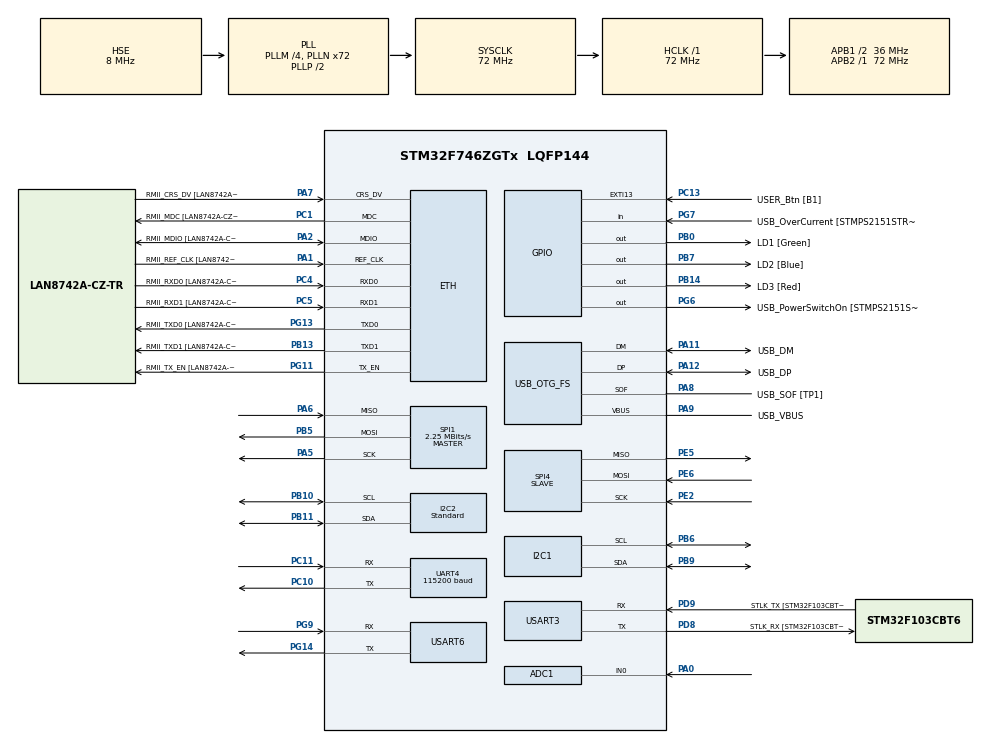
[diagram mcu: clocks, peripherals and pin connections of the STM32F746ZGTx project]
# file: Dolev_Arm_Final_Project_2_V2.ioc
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ADC1.Channel-0\#ChannelRegularConversion=ADC_CHANNEL_0
ADC1.NbrOfConversionFlag=1
ADC1.Rank-0\#ChannelRegularConversion=1
ADC1.SamplingTime-0\#ChannelRegularConversion=ADC_SAMPLETIME_3CYCLES
ADC1.master=1
CORTEX_M7.CPU_DCache=Disabled
CORTEX_M7.PREFETCH_ENABLE=0
Dma.ADC1.12.Direction=DMA_PERIPH_TO_MEMORY
Dma.ADC1.12.FIFOMode=DMA_FIFOMODE_ENABLE
Dma.ADC1.12.FIFOThreshold=DMA_FIFO_THRESHOLD_FULL
Dma.ADC1.12.Instance=DMA2_Stream4
Dma.ADC1.12.MemBurst=DMA_MBURST_SINGLE
Dma.ADC1.12.MemDataAlignment=DMA_MDATAALIGN_HALFWORD
Dma.ADC1.12.MemInc=DMA_MINC_ENABLE
Dma.ADC1.12.Mode=DMA_NORMAL
Dma.ADC1.12.PeriphBurst=DMA_PBURST_SINGLE
Dma.ADC1.12.PeriphDataAlignment=DMA_PDATAALIGN_HALFWORD
Dma.ADC1.12.PeriphInc=DMA_PINC_DISABLE
Dma.ADC1.12.Priority=DMA_PRIORITY_LOW
Dma.I2C1_RX.6.Direction=DMA_PERIPH_TO_MEMORY
Dma.I2C1_RX.6.FIFOMode=DMA_FIFOMODE_ENABLE
Dma.I2C1_RX.6.FIFOThreshold=DMA_FIFO_THRESHOLD_FULL
Dma.I2C1_RX.6.Instance=DMA1_Stream0
Dma.I2C1_RX.6.MemBurst=DMA_MBURST_SINGLE
Dma.I2C1_RX.6.MemDataAlignment=DMA_MDATAALIGN_BYTE
Dma.I2C1_RX.6.MemInc=DMA_MINC_ENABLE
Dma.I2C1_RX.6.Mode=DMA_NORMAL
Dma.I2C1_RX.6.PeriphBurst=DMA_PBURST_SINGLE
Dma.I2C1_RX.6.PeriphDataAlignment=DMA_PDATAALIGN_BYTE
Dma.I2C1_RX.6.PeriphInc=DMA_PINC_DISABLE
Dma.I2C1_RX.6.Priority=DMA_PRIORITY_LOW
Dma.I2C1_TX.7.Direction=DMA_MEMORY_TO_PERIPH
Dma.I2C1_TX.7.FIFOMode=DMA_FIFOMODE_ENABLE
Dma.I2C1_TX.7.FIFOThreshold=DMA_FIFO_THRESHOLD_FULL
Dma.I2C1_TX.7.Instance=DMA1_Stream6
Dma.I2C1_TX.7.MemBurst=DMA_MBURST_SINGLE
Dma.I2C1_TX.7.MemDataAlignment=DMA_MDATAALIGN_BYTE
Dma.I2C1_TX.7.MemInc=DMA_MINC_ENABLE
Dma.I2C1_TX.7.Mode=DMA_NORMAL
Dma.I2C1_TX.7.PeriphBurst=DMA_PBURST_SINGLE
Dma.I2C1_TX.7.PeriphDataAlignment=DMA_PDATAALIGN_BYTE
Dma.I2C1_TX.7.PeriphInc=DMA_PINC_DISABLE
Dma.I2C1_TX.7.Priority=DMA_PRIORITY_LOW
Dma.I2C2_RX.4.Direction=DMA_PERIPH_TO_MEMORY
Dma.I2C2_RX.4.FIFOMode=DMA_FIFOMODE_ENABLE
Dma.I2C2_RX.4.FIFOThreshold=DMA_FIFO_THRESHOLD_FULL
Dma.I2C2_RX.4.Instance=DMA1_Stream3
Dma.I2C2_RX.4.MemBurst=DMA_MBURST_SINGLE
Dma.I2C2_RX.4.MemDataAlignment=DMA_MDATAALIGN_BYTE
Dma.I2C2_RX.4.MemInc=DMA_MINC_ENABLE
Dma.I2C2_RX.4.Mode=DMA_NORMAL
Dma.I2C2_RX.4.PeriphBurst=DMA_PBURST_SINGLE
Dma.I2C2_RX.4.PeriphDataAlignment=DMA_PDATAALIGN_BYTE
Dma.I2C2_RX.4.PeriphInc=DMA_PINC_DISABLE
Dma.I2C2_RX.4.Priority=DMA_PRIORITY_LOW
Dma.I2C2_TX.5.Direction=DMA_MEMORY_TO_PERIPH
Dma.I2C2_TX.5.FIFOMode=DMA_FIFOMODE_ENABLE
Dma.I2C2_TX.5.FIFOThreshold=DMA_FIFO_THRESHOLD_FULL
Dma.I2C2_TX.5.Instance=DMA1_Stream7
Dma.I2C2_TX.5.MemBurst=DMA_MBURST_SINGLE
Dma.I2C2_TX.5.MemDataAlignment=DMA_MDATAALIGN_BYTE
Dma.I2C2_TX.5.MemInc=DMA_MINC_ENABLE
Dma.I2C2_TX.5.Mode=DMA_NORMAL
Dma.I2C2_TX.5.PeriphBurst=DMA_PBURST_SINGLE
Dma.I2C2_TX.5.PeriphDataAlignment=DMA_PDATAALIGN_BYTE
Dma.I2C2_TX.5.PeriphInc=DMA_PINC_DISABLE
Dma.I2C2_TX.5.Priority=DMA_PRIORITY_LOW
Dma.Request0=UART4_RX
Dma.Request1=UART4_TX
Dma.Request10=SPI4_RX
Dma.Request11=SPI4_TX
Dma.Request12=ADC1
Dma.Request2=USART6_RX
Dma.Request3=USART6_TX
Dma.Request4=I2C2_RX
Dma.Request5=I2C2_TX
Dma.Request6=I2C1_RX
Dma.Request7=I2C1_TX
Dma.Request8=SPI1_RX
Dma.Request9=SPI1_TX
Dma.SPI1_RX.8.Direction=DMA_PERIPH_TO_MEMORY
Dma.SPI1_RX.8.FIFOMode=DMA_FIFOMODE_ENABLE
Dma.SPI1_RX.8.FIFOThreshold=DMA_FIFO_THRESHOLD_FULL
Dma.SPI1_RX.8.Instance=DMA2_Stream0
Dma.SPI1_RX.8.MemBurst=DMA_MBURST_SINGLE
Dma.SPI1_RX.8.MemDataAlignment=DMA_MDATAALIGN_BYTE
Dma.SPI1_RX.8.MemInc=DMA_MINC_ENABLE
Dma.SPI1_RX.8.Mode=DMA_NORMAL
Dma.SPI1_RX.8.PeriphBurst=DMA_PBURST_SINGLE
Dma.SPI1_RX.8.PeriphDataAlignment=DMA_PDATAALIGN_BYTE
Dma.SPI1_RX.8.PeriphInc=DMA_PINC_DISABLE
Dma.SPI1_RX.8.Priority=DMA_PRIORITY_LOW
Dma.SPI1_TX.9.Direction=DMA_MEMORY_TO_PERIPH
Dma.SPI1_TX.9.FIFOMode=DMA_FIFOMODE_ENABLE
Dma.SPI1_TX.9.FIFOThreshold=DMA_FIFO_THRESHOLD_FULL
Dma.SPI1_TX.9.Instance=DMA2_Stream5
Dma.SPI1_TX.9.MemBurst=DMA_MBURST_SINGLE
Dma.SPI1_TX.9.MemDataAlignment=DMA_MDATAALIGN_BYTE
Dma.SPI1_TX.9.MemInc=DMA_MINC_ENABLE
Dma.SPI1_TX.9.Mode=DMA_NORMAL
Dma.SPI1_TX.9.PeriphBurst=DMA_PBURST_SINGLE
Dma.SPI1_TX.9.PeriphDataAlignment=DMA_PDATAALIGN_BYTE
Dma.SPI1_TX.9.PeriphInc=DMA_PINC_DISABLE
Dma.SPI1_TX.9.Priority=DMA_PRIORITY_LOW
Dma.SPI4_RX.10.Direction=DMA_PERIPH_TO_MEMORY
Dma.SPI4_RX.10.FIFOMode=DMA_FIFOMODE_ENABLE
Dma.SPI4_RX.10.FIFOThreshold=DMA_FIFO_THRESHOLD_FULL
Dma.SPI4_RX.10.Instance=DMA2_Stream3
Dma.SPI4_RX.10.MemBurst=DMA_MBURST_SINGLE
Dma.SPI4_RX.10.MemDataAlignment=DMA_MDATAALIGN_BYTE
Dma.SPI4_RX.10.MemInc=DMA_MINC_ENABLE
Dma.SPI4_RX.10.Mode=DMA_NORMAL
Dma.SPI4_RX.10.PeriphBurst=DMA_PBURST_SINGLE
Dma.SPI4_RX.10.PeriphDataAlignment=DMA_PDATAALIGN_BYTE
Dma.SPI4_RX.10.PeriphInc=DMA_PINC_DISABLE
Dma.SPI4_RX.10.Priority=DMA_PRIORITY_LOW
Dma.SPI4_TX.11.Direction=DMA_MEMORY_TO_PERIPH
Dma.SPI4_TX.11.FIFOMode=DMA_FIFOMODE_ENABLE
Dma.SPI4_TX.11.FIFOThreshold=DMA_FIFO_THRESHOLD_FULL
Dma.SPI4_TX.11.Instance=DMA2_Stream1
Dma.SPI4_TX.11.MemBurst=DMA_MBURST_SINGLE
Dma.SPI4_TX.11.MemDataAlignment=DMA_MDATAALIGN_BYTE
Dma.SPI4_TX.11.MemInc=DMA_MINC_ENABLE
Dma.SPI4_TX.11.Mode=DMA_NORMAL
Dma.SPI4_TX.11.PeriphBurst=DMA_PBURST_SINGLE
Dma.SPI4_TX.11.PeriphDataAlignment=DMA_PDATAALIGN_BYTE
Dma.SPI4_TX.11.PeriphInc=DMA_PINC_DISABLE
Dma.SPI4_TX.11.Priority=DMA_PRIORITY_LOW
Dma.UART4_RX.0.Direction=DMA_PERIPH_TO_MEMORY
Dma.UART4_RX.0.FIFOMode=DMA_FIFOMODE_ENABLE
Dma.UART4_RX.0.FIFOThreshold=DMA_FIFO_THRESHOLD_FULL
Dma.UART4_RX.0.Instance=DMA1_Stream2
Dma.UART4_RX.0.MemBurst=DMA_MBURST_SINGLE
Dma.UART4_RX.0.MemDataAlignment=DMA_MDATAALIGN_BYTE
Dma.UART4_RX.0.MemInc=DMA_MINC_ENABLE
Dma.UART4_RX.0.Mode=DMA_NORMAL
Dma.UART4_RX.0.PeriphBurst=DMA_PBURST_SINGLE
Dma.UART4_RX.0.PeriphDataAlignment=DMA_PDATAALIGN_BYTE
Dma.UART4_RX.0.PeriphInc=DMA_PINC_DISABLE
Dma.UART4_RX.0.Priority=DMA_PRIORITY_LOW
Dma.UART4_TX.1.Direction=DMA_MEMORY_TO_PERIPH
Dma.UART4_TX.1.FIFOMode=DMA_FIFOMODE_ENABLE
Dma.UART4_TX.1.FIFOThreshold=DMA_FIFO_THRESHOLD_FULL
Dma.UART4_TX.1.Instance=DMA1_Stream4
Dma.UART4_TX.1.MemBurst=DMA_MBURST_SINGLE
Dma.UART4_TX.1.MemDataAlignment=DMA_MDATAALIGN_BYTE
Dma.UART4_TX.1.MemInc=DMA_MINC_ENABLE
Dma.UART4_TX.1.Mode=DMA_NORMAL
Dma.UART4_TX.1.PeriphBurst=DMA_PBURST_SINGLE
Dma.UART4_TX.1.PeriphDataAlignment=DMA_PDATAALIGN_BYTE
Dma.UART4_TX.1.PeriphInc=DMA_PINC_DISABLE
Dma.UART4_TX.1.Priority=DMA_PRIORITY_LOW
Dma.USART6_RX.2.Direction=DMA_PERIPH_TO_MEMORY
Dma.USART6_RX.2.FIFOMode=DMA_FIFOMODE_ENABLE
Dma.USART6_RX.2.FIFOThreshold=DMA_FIFO_THRESHOLD_FULL
Dma.USART6_RX.2.Instance=DMA2_Stream2
Dma.USART6_RX.2.MemBurst=DMA_MBURST_SINGLE
Dma.USART6_RX.2.MemDataAlignment=DMA_MDATAALIGN_BYTE
Dma.USART6_RX.2.MemInc=DMA_MINC_ENABLE
Dma.USART6_RX.2.Mode=DMA_NORMAL
Dma.USART6_RX.2.PeriphBurst=DMA_PBURST_SINGLE
Dma.USART6_RX.2.PeriphDataAlignment=DMA_PDATAALIGN_BYTE
Dma.USART6_RX.2.PeriphInc=DMA_PINC_DISABLE
Dma.USART6_RX.2.Priority=DMA_PRIORITY_LOW
Dma.USART6_TX.3.Direction=DMA_MEMORY_TO_PERIPH
Dma.USART6_TX.3.FIFOMode=DMA_FIFOMODE_ENABLE
Dma.USART6_TX.3.FIFOThreshold=DMA_FIFO_THRESHOLD_FULL
Dma.USART6_TX.3.Instance=DMA2_Stream6
Dma.USART6_TX.3.MemBurst=DMA_MBURST_SINGLE
Dma.USART6_TX.3.MemDataAlignment=DMA_MDATAALIGN_BYTE
Dma.USART6_TX.3.MemInc=DMA_MINC_ENABLE
Dma.USART6_TX.3.Mode=DMA_NORMAL
Dma.USART6_TX.3.PeriphBurst=DMA_PBURST_SINGLE
Dma.USART6_TX.3.PeriphDataAlignment=DMA_PDATAALIGN_BYTE
Dma.USART6_TX.3.PeriphInc=DMA_PINC_DISABLE
Dma.USART6_TX.3.Priority=DMA_PRIORITY_LOW
ETH.MediaInterface=HAL_ETH_RMII_MODE
ETH.PHY_Name=LAN8742A_PHY_ADDRESS
ETH.PHY_Value=0
ETH.PhyAddress=0
I2C1.Timing=0x00808CD2
I2C2.I2C_Speed_Mode=I2C_Standard
I2C2.OwnAddress=77
I2C2.Timing=0x00808CD2
LWIP.BSP.number=1
LWIP.GATEWAY_ADDRESS=192.168.001.066
LWIP.IP_ADDRESS=192.168.001.059
LWIP.LWIP_DHCP=0
LWIP.NETMASK_ADDRESS=255.255.255.000
LWIP.Version=v2.1.2_Cube
LWIP0.BSP.STBoard=false
LWIP0.BSP.api=BSP_COMPONENT_DRIVER
LWIP0.BSP.component=LAN8742
LWIP0.BSP.instance=LAN8742
LWIP0.BSP.name=Driver_PHY
LWIP0.BSP.semaphore=S_LAN8742
LWIP0.BSP.solution=LAN8742
Mcu.Family=STM32F7
Mcu.Name=STM32F746ZGTx
Mcu.Package=LQFP144
NVIC.ADC_IRQn=true\:0\:0\:false\:false\:true\:true\:true\:true
NVIC.DMA1_Stream0_IRQn=true\:0\:0\:false\:false\:true\:false\:true\:true
NVIC.DMA1_Stream2_IRQn=true\:0\:0\:false\:false\:true\:false\:true\:true
NVIC.DMA1_Stream3_IRQn=true\:0\:0\:false\:false\:true\:false\:true\:true
NVIC.DMA1_Stream4_IRQn=true\:0\:0\:false\:false\:true\:false\:true\:true
NVIC.DMA1_Stream6_IRQn=true\:0\:0\:false\:false\:true\:false\:true\:true
NVIC.DMA1_Stream7_IRQn=true\:0\:0\:false\:false\:true\:false\:true\:true
NVIC.DMA2_Stream0_IRQn=true\:0\:0\:false\:false\:true\:false\:true\:true
NVIC.DMA2_Stream1_IRQn=true\:0\:0\:false\:false\:true\:false\:true\:true
NVIC.DMA2_Stream2_IRQn=true\:0\:0\:false\:false\:true\:false\:true\:true
NVIC.DMA2_Stream3_IRQn=true\:0\:0\:false\:false\:true\:false\:true\:true
NVIC.DMA2_Stream4_IRQn=true\:0\:0\:false\:false\:true\:false\:true\:true
NVIC.DMA2_Stream5_IRQn=true\:0\:0\:false\:false\:true\:false\:true\:true
NVIC.DMA2_Stream6_IRQn=true\:0\:0\:false\:false\:true\:false\:true\:true
NVIC.ETH_IRQn=true\:0\:0\:false\:false\:true\:true\:true\:true
NVIC.I2C1_EV_IRQn=true\:0\:0\:false\:false\:true\:true\:true\:true
NVIC.I2C2_EV_IRQn=true\:0\:0\:false\:false\:true\:true\:true\:true
NVIC.PriorityGroup=NVIC_PRIORITYGROUP_4
NVIC.SPI1_IRQn=true\:0\:0\:false\:false\:true\:true\:true\:true
NVIC.SPI4_IRQn=true\:0\:0\:false\:false\:true\:true\:true\:true
NVIC.TIM3_IRQn=true\:0\:0\:false\:false\:true\:true\:true\:true
NVIC.UART4_IRQn=true\:0\:0\:false\:false\:true\:true\:true\:true
NVIC.USART6_IRQn=true\:0\:0\:false\:false\:true\:true\:true\:true
PA0/WKUP.GPIO_Mode=GPIO_MODE_ANALOG
PA0/WKUP.Signal=ADCx_IN0
PA1.GPIO_Label=RMII_REF_CLK [LAN8742A-CZ-TR_REFCLK0]
PA1.Mode=RMII
PA1.Signal=ETH_REF_CLK
PA10.GPIO_Label=USB_ID
PA10.Signal=USB_OTG_FS_ID
PA11.GPIO_Label=USB_DM
PA11.Mode=Device_Only
PA11.Signal=USB_OTG_FS_DM
PA12.GPIO_Label=USB_DP
PA12.Mode=Device_Only
PA12.Signal=USB_OTG_FS_DP
PA13.GPIO_Label=TMS
PA13.Mode=Serial_Wire
PA13.Signal=SYS_JTMS-SWDIO
PA14.GPIO_Label=TCK
PA14.Mode=Serial_Wire
PA14.Signal=SYS_JTCK-SWCLK
PA2.GPIO_Label=RMII_MDIO [LAN8742A-CZ-TR_MDIO]
PA2.Mode=RMII
PA2.Signal=ETH_MDIO
PA5.Mode=Full_Duplex_Master
PA5.Signal=SPI1_SCK
PA6.Mode=Full_Duplex_Master
PA6.Signal=SPI1_MISO
PA7.GPIO_Label=RMII_CRS_DV [LAN8742A-CZ-TR_CRS_DV]
PA7.Mode=RMII
PA7.Signal=ETH_CRS_DV
PA8.GPIO_Label=USB_SOF [TP1]
PA8.Mode=Activate_SOF_FS
PA8.Signal=USB_OTG_FS_SOF
PA9.GPIO_Label=USB_VBUS
PA9.Mode=Activate_VBUS
PA9.Signal=USB_OTG_FS_VBUS
PB0.GPIO_Label=LD1 [Green]
PB0.Signal=GPIO_Output
PB10.GPIO_Pu=GPIO_PULLUP
PB10.Mode=I2C
PB10.Signal=I2C2_SCL
PB11.GPIO_Pu=GPIO_PULLUP
PB11.Mode=I2C
PB11.Signal=I2C2_SDA
PB13.GPIO_Label=RMII_TXD1 [LAN8742A-CZ-TR_TXD1]
PB13.Mode=RMII
PB13.Signal=ETH_TXD1
PB14.GPIO_Label=LD3 [Red]
PB14.Signal=GPIO_Output
PB3.GPIO_Label=SW0
PB3.Signal=SYS_JTDO-SWO
PB5.Mode=Full_Duplex_Master
PB5.Signal=SPI1_MOSI
PB6.Mode=I2C
PB6.Signal=I2C1_SCL
PB7.GPIO_Label=LD2 [Blue]
PB7.Signal=GPIO_Output
PB9.Mode=I2C
PB9.Signal=I2C1_SDA
PC1.GPIO_Label=RMII_MDC [LAN8742A-CZ-TR_MDC]
PC1.Mode=RMII
PC1.Signal=ETH_MDC
PC10.GPIO_PuPd=GPIO_PULLUP
PC10.Mode=Asynchronous
PC10.Signal=UART4_TX
PC11.GPIO_PuPd=GPIO_PULLUP
PC11.Mode=Asynchronous
PC11.Signal=UART4_RX
PC13.GPIO_Label=USER_Btn [B1]
PC13.Signal=GPXTI13
PC14/OSC32_IN.Mode=LSE-External-Oscillator
PC14/OSC32_IN.Signal=RCC_OSC32_IN
PC15/OSC32_OUT.Mode=LSE-External-Oscillator
PC15/OSC32_OUT.Signal=RCC_OSC32_OUT
PC4.GPIO_Label=RMII_RXD0 [LAN8742A-CZ-TR_RXD0]
PC4.Mode=RMII
PC4.Signal=ETH_RXD0
PC5.GPIO_Label=RMII_RXD1 [LAN8742A-CZ-TR_RXD1]
PC5.Mode=RMII
PC5.Signal=ETH_RXD1
PD6.GPIO_PuPd=GPIO_PULLUP
PD6.Signal=USART2_RX
PD8.GPIO_Label=STLK_RX [STM32F103CBT6_PA3]
PD8.Mode=Asynchronous
PD8.Signal=USART3_TX
PD9.GPIO_Label=STLK_TX [STM32F103CBT6_PA2]
PD9.Mode=Asynchronous
PD9.Signal=USART3_RX
PE2.Mode=Full_Duplex_Slave
PE2.Signal=SPI4_SCK
PE5.Mode=Full_Duplex_Slave
PE5.Signal=SPI4_MISO
PE6.Mode=Full_Duplex_Slave
PE6.Signal=SPI4_MOSI
PG11.GPIO_Label=RMII_TX_EN [LAN8742A-CZ-TR_TXEN]
PG11.Mode=RMII
PG11.Signal=ETH_TX_EN
PG13.GPIO_Label=RMII_TXD0 [LAN8742A-CZ-TR_TXD0]
PG13.Mode=RMII
PG13.Signal=ETH_TXD0
PG14.GPIO_PuPd=GPIO_PULLUP
PG14.Mode=Asynchronous
PG14.Signal=USART6_TX
PG6.GPIO_Label=USB_PowerSwitchOn [STMPS2151STR_EN]
PG6.Signal=GPIO_Output
PG7.GPIO_Label=USB_OverCurrent [STMPS2151STR_FAULT]
PG7.Signal=GPIO_Input
PG9.GPIO_PuPd=GPIO_PULLUP
PG9.Mode=Asynchronous
PG9.Signal=USART6_RX
PH0/OSC_IN.GPIO_Label=MCO [STM32F103CBT6_PA8]
PH0/OSC_IN.Mode=HSE-External-Clock-Source
PH0/OSC_IN.Signal=RCC_OSC_IN
PH1/OSC_OUT.Mode=HSE-External-Clock-Source
PH1/OSC_OUT.Signal=RCC_OSC_OUT
ProjectManager.HeapSize=0x200
ProjectManager.StackSize=0x400
ProjectManager.TargetToolchain=STM32CubeIDE
RCC.48MHZClocksFreq_Value=24000000
RCC.AHBFreq_Value=72000000
RCC.APB1CLKDivider=RCC_HCLK_DIV2
RCC.APB1Freq_Value=36000000
RCC.APB1TimFreq_Value=72000000
RCC.APB2Freq_Value=72000000
RCC.APB2TimFreq_Value=72000000
RCC.CortexFreq_Value=72000000
RCC.HCLKFreq_Value=72000000
RCC.HSE_VALUE=8000000
RCC.HSI_VALUE=16000000
RCC.PLLM=4
RCC.PLLMUL=RCC_PLL_MUL9
RCC.PLLN=72
RCC.PLLQ=3
RCC.PRESCALERUSB=RCC_USBCLKSOURCE_PLL_DIV1_5
RCC.SYSCLKFreq_VALUE=72000000
RCC.SYSCLKSource=RCC_SYSCLKSOURCE_PLLCLK
RCC.SYSCLKSourceVirtual=RCC_SYSCLKSOURCE_PLLCLK
RCC.USBFreq_Value=48000000
RCC.VCOOutputFreq_Value=144000000
SH.ADCx_IN0.0=ADC1_IN0,IN0
SPI1.BaudRatePrescaler=SPI_BAUDRATEPRESCALER_32
SPI1.CalculateBaudRate=2.25 MBits/s
SPI1.DataSize=SPI_DATASIZE_8BIT
SPI1.Direction=SPI_DIRECTION_2LINES
SPI1.Mode=SPI_MODE_MASTER
SPI1.NSSPMode=SPI_NSS_PULSE_DISABLE
SPI1.VirtualType=VM_MASTER
SPI4.DataSize=SPI_DATASIZE_8BIT
SPI4.Direction=SPI_DIRECTION_2LINES
SPI4.Mode=SPI_MODE_SLAVE
SPI4.VirtualType=VM_SLAVE
TIM3.AutoReloadPreload=TIM_AUTORELOAD_PRELOAD_ENABLE
TIM3.Period=9999
TIM3.Prescaler=7199
UART4.BaudRate=115200
UART4.Parity=PARITY_NONE
UART4.StopBits=UART_STOPBITS_1
USART3.VirtualMode-Asynchronous=VM_ASYNC
USART6.VirtualMode-Asynchronous=VM_ASYNC
USB_OTG_FS.VirtualMode=Device_Only
VP_LWIP_VS_Enabled.Mode=Enabled
VP_TIM3_VS_ClockSourceINT.Mode=Internal
board=NUCLEO-F746ZG

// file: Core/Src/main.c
/* USER CODE BEGIN Header */
/**
  ******************************************************************************
  * @file           : main.c
  * @brief          : Main program body
  ******************************************************************************
  * @attention
  *
  * Copyright (c) 2022 STMicroelectronics.
  * All rights reserved.
  *
  * This software is licensed under terms that can be found in the LICENSE file
  * in the root directory of this software component.
  * If no LICENSE file comes with this software, it is provided AS-IS.
  *
  ******************************************************************************
  */
/* USER CODE END Header */
#include "main.h"
#include "adc.h"
#include "dma.h"
#include "i2c.h"
#include "lwip.h"
#include "spi.h"
#include "tim.h"
#include "usart.h"
#include "usb_otg.h"
#include "gpio.h"

/* USER CODE BEGIN Includes */
#include "DB_SERVER.h"
#include "DB_MAIN.h"
#include "DB_TIMER.h"
/* USER CODE END Includes */

/* USER CODE BEGIN PV */
uint8_t    iter;
uint8_t    per;
uint8_t    length;
uint8_t    result;
uint8_t    test_result;
char       test_check[MAX_SIZE_OF_STRING];
/* USER CODE END PV */

void SystemClock_Config(void);

/* USER CODE BEGIN 0 */
struct udp_pcb *upcb;
uint8_t flag_packet = 0;
/* USER CODE END 0 */

int main(void)
{

  /* MCU Configuration--------------------------------------------------------*/

  /* Reset of all peripherals, Initializes the Flash interface and the Systick. */
  HAL_Init();

  /* Configure the system clock */
  SystemClock_Config();

  /* USER CODE BEGIN SysInit */
  MX_DMA_Init();
  /* USER CODE END SysInit */

  /* Initialize all configured peripherals */
  MX_GPIO_Init();
  MX_DMA_Init();
  MX_USB_OTG_FS_PCD_Init();
  MX_LWIP_Init();
  MX_UART4_Init();
  MX_I2C2_Init();
  MX_SPI1_Init();
  MX_USART3_UART_Init();
  MX_ADC1_Init();
  MX_USART6_UART_Init();
  MX_I2C1_Init();
  MX_SPI4_Init();
  MX_TIM3_Init();
  /* USER CODE BEGIN 2 */
	udpServer_init ();
  /* USER CODE END 2 */

  /* Infinite loop */
  while (1)
  {

    /* USER CODE BEGIN 3 */
	  ethernetif_input(&gnetif);
	  sys_check_timeouts();
	  if (flag_packet)
		  package_back();
}
  /* USER CODE END 3 */
}

void SystemClock_Config(void)
{
  RCC_OscInitTypeDef RCC_OscInitStruct = {0};
  RCC_ClkInitTypeDef RCC_ClkInitStruct = {0};

  /** Configure LSE Drive Capability
  */
  HAL_PWR_EnableBkUpAccess();

  /** Configure the main internal regulator output voltage
  */
  __HAL_RCC_PWR_CLK_ENABLE();
  __HAL_PWR_VOLTAGESCALING_CONFIG(PWR_REGULATOR_VOLTAGE_SCALE3);

  /** Initializes the RCC Oscillators according to the specified parameters
  * in the RCC_OscInitTypeDef structure.
  */
  RCC_OscInitStruct.OscillatorType = RCC_OSCILLATORTYPE_HSE;
  RCC_OscInitStruct.HSEState = RCC_HSE_BYPASS;
  RCC_OscInitStruct.PLL.PLLState = RCC_PLL_ON;
  RCC_OscInitStruct.PLL.PLLSource = RCC_PLLSOURCE_HSE;
  RCC_OscInitStruct.PLL.PLLM = 4;
  RCC_OscInitStruct.PLL.PLLN = 72;
  RCC_OscInitStruct.PLL.PLLP = RCC_PLLP_DIV2;
  RCC_OscInitStruct.PLL.PLLQ = 3;
  if (HAL_RCC_OscConfig(&RCC_OscInitStruct) != HAL_OK)
  {
    Error_Handler();
  }

  /** Initializes the CPU, AHB and APB buses clocks
  */
  RCC_ClkInitStruct.ClockType = RCC_CLOCKTYPE_HCLK|RCC_CLOCKTYPE_SYSCLK
                              |RCC_CLOCKTYPE_PCLK1|RCC_CLOCKTYPE_PCLK2;
  RCC_ClkInitStruct.SYSCLKSource = RCC_SYSCLKSOURCE_PLLCLK;
  RCC_ClkInitStruct.AHBCLKDivider = RCC_SYSCLK_DIV1;
  RCC_ClkInitStruct.APB1CLKDivider = RCC_HCLK_DIV2;
  RCC_ClkInitStruct.APB2CLKDivider = RCC_HCLK_DIV1;

  if (HAL_RCC_ClockConfig(&RCC_ClkInitStruct, FLASH_LATENCY_2) != HAL_OK)
  {
    Error_Handler();
  }
}

void Error_Handler(void)
{
  __disable_irq();
  while (1)
  {
  }
}
